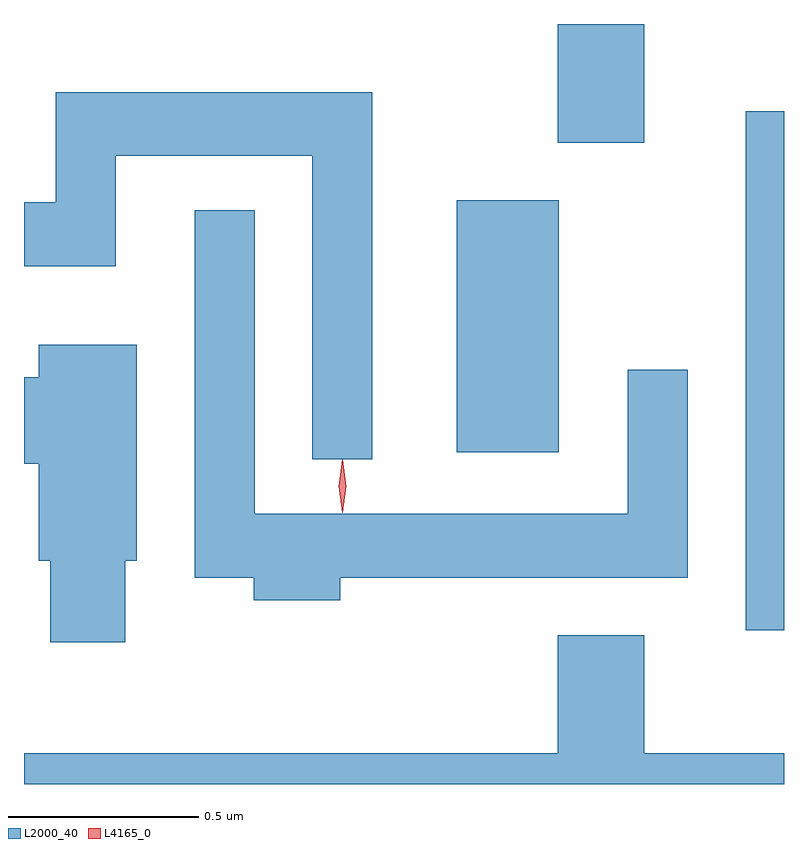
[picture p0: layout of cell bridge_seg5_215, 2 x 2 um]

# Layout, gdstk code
import gdstk
lib = gdstk.Library(unit=1e-6, precision=1e-09)
def R(c, l, rs):  # rectangles x0, y0, x1, y1
    for r in rs: c.add(gdstk.rectangle(r[:2], r[2:], *l))
def P(c, l, *ps):  # polygons
    for p in ps: c.add(gdstk.Polygon(p, *l))
L2000_40 = (2000, 40)
L4165_0 = (4165, 0)

bridge_seg5_215 = lib.new_cell('bridge_seg5_215')
R(bridge_seg5_215, L2000_40, [(1314.546,1428.528,1314.647,1429.894), (1313.786,1428.996,1314.054,1429.659), (1314.051,1429.811,1314.279,1430.123)])
P(bridge_seg5_215, L2000_40, [(1313.564,1429.944),(1312.731,1429.944),(1312.731,1429.654),(1312.647,1429.654),(1312.647,1429.486),(1312.889,1429.486),(1312.889,1429.776),(1313.406,1429.776),(1313.406,1428.978),(1313.564,1428.978)],
  [(1313.479,1428.666),(1314.394,1428.666),(1314.394,1429.213),(1314.236,1429.213),(1314.236,1428.834),(1313.254,1428.834),(1313.254,1429.633),(1313.096,1429.633),(1313.096,1428.666),(1313.251,1428.666),(1313.251,1428.606),(1313.479,1428.606)],
  [(1312.914,1428.711),(1312.944,1428.711),(1312.944,1429.279),(1312.686,1429.279),(1312.686,1429.194),(1312.647,1429.194),(1312.647,1428.966),(1312.686,1428.966),(1312.686,1428.711),(1312.716,1428.711),(1312.716,1428.496),(1312.914,1428.496)],
  [(1314.647,1428.204),(1314.279,1428.204),(1314.279,1428.514),(1314.051,1428.514),(1314.051,1428.204),(1312.647,1428.204),(1312.647,1428.123),(1314.647,1428.123)])
P(bridge_seg5_215, L4165_0, [(1313.485,1428.837),(1313.485,1428.838),(1313.475,1428.907),(1313.485,1428.976),(1313.485,1428.976),(1313.486,1428.976),(1313.495,1428.907),(1313.486,1428.838)],
  [(1313.485,1428.839),(1313.485,1428.84),(1313.475,1428.906),(1313.485,1428.972),(1313.485,1428.973),(1313.486,1428.972),(1313.495,1428.906),(1313.486,1428.84)])

lib.write_gds('bridge_seg5_215.gds')
